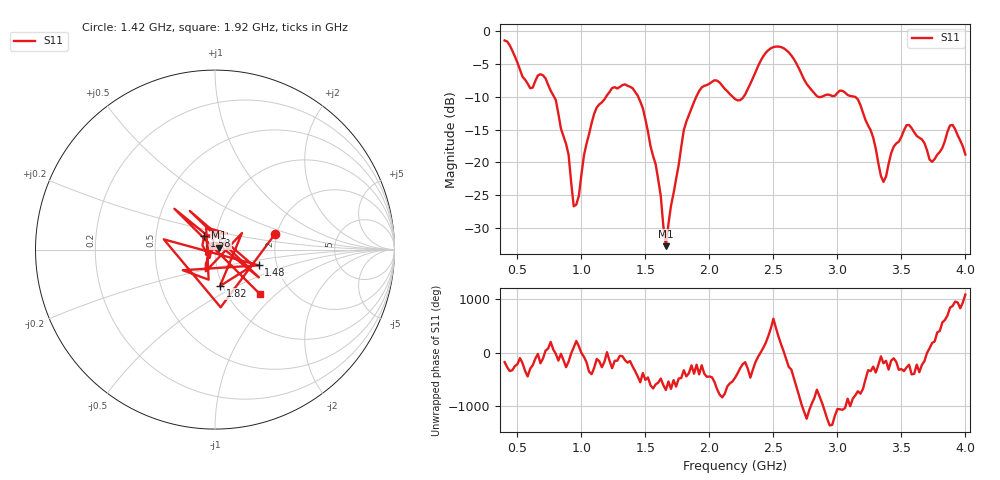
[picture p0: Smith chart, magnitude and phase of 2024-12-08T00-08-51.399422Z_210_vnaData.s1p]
!Created with skrf (http://scikit-rf.org).
# Hz S RI R 50.0
!freq ReS11 ImS11
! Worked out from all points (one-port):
!   181 points, 400 MHz to 4 GHz, reference 50 ohm
!   lowest |S11| = -32.8 dB at 1.66 GHz (marker M1), VSWR 1.05, Z = 52.1 + j1.05 ohm
!   |S11| at or under -10 dB: 786.3 MHz to 1.192 GHz (406.1 MHz wide, 41 % of centre); 1.444 GHz to 1.897 GHz (453.2 MHz wide, 27.1 % of centre); 3.138 GHz to end of sweep (the widest 3 of 5)
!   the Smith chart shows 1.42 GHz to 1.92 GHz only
!   S11 on the Smith chart (normalised r, x): 1.42 GHz: 1.95, +0.38; 1.48 GHz: 1.61, -0.30; 1.58 GHz: 0.88, +0.13; 1.82 GHz: 0.97, -0.41; 1.92 GHz: 1.40, -0.79
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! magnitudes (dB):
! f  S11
! 400 MHz  -1.4
! 600 MHz  -8.7
! 720 MHz  -7.2
! 860 MHz  -16.0
! 900 MHz  -18.9
! 940 MHz  -26.7
! 960 MHz  -26.5
! 1.1 GHz  -12.6
! 1.3 GHz  -8.5
! 1.42 GHz  -9.2
! 1.48 GHz  -11.7
! 1.58 GHz  -20.3
! 1.66 GHz  -32.8
! 1.76 GHz  -20.4
! 1.82 GHz  -13.8
! 1.92 GHz  -9.1
! 2.06 GHz  -7.5
! 2.2 GHz  -10.3
! 2.48 GHz  -2.6
! 2.66 GHz  -4.2
! 2.84 GHz  -9.9
! 3.1 GHz  -9.9
! 3.26 GHz  -15.1
! 3.36 GHz  -23.0
! 3.56 GHz  -14.3
! 3.74 GHz  -19.9
! 3.88 GHz  -14.4
! 4 GHz  -18.8
